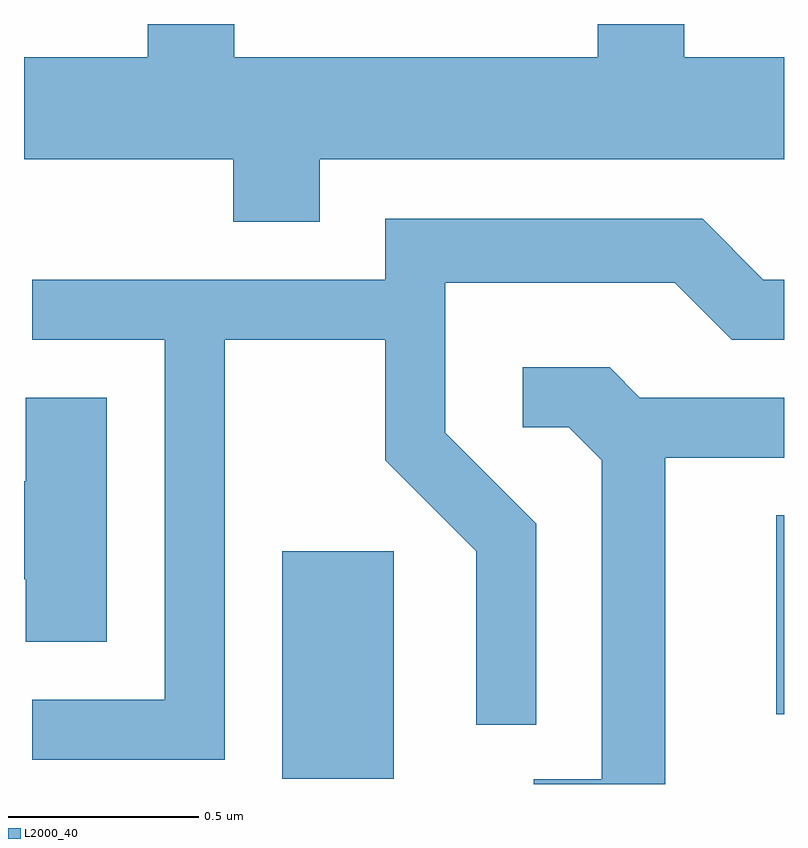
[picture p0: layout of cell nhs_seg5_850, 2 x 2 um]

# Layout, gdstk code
import gdstk
lib = gdstk.Library(unit=1e-6, precision=1e-09)
def R(c, l, rs):  # rectangles x0, y0, x1, y1
    for r in rs: c.add(gdstk.rectangle(r[:2], r[2:], *l))
def P(c, l, *ps):  # polygons
    for p in ps: c.add(gdstk.Polygon(p, *l))
L2000_40 = (2000, 40)

nhs_seg5_850 = lib.new_cell('nhs_seg5_850')
R(nhs_seg5_850, L2000_40, [(192.291,1424.086,192.584,1424.684), (193.591,1424.256,193.611,1424.779)])
P(nhs_seg5_850, L2000_40, [(192.389,1425.716),(193.611,1425.716),(193.611,1425.984),(193.349,1425.984),(193.349,1426.072),(193.121,1426.072),(193.121,1425.984),(192.164,1425.984),(192.164,1426.072),(191.936,1426.072),(191.936,1425.984),(191.611,1425.984),(191.611,1425.716),(192.161,1425.716),(192.161,1425.551),(192.389,1425.551)],
  [(192.139,1425.241),(192.561,1425.241),(192.561,1424.924),(192.801,1424.684),(192.801,1424.228),(192.959,1424.228),(192.959,1424.757),(192.719,1424.997),(192.719,1425.391),(193.324,1425.391),(193.474,1425.241),(193.611,1425.241),(193.611,1425.399),(193.557,1425.399),(193.397,1425.559),(192.561,1425.559),(192.561,1425.399),(191.633,1425.399),(191.633,1425.241),(191.981,1425.241),(191.981,1424.294),(191.633,1424.294),(191.633,1424.136),(192.139,1424.136)],
  [(193.299,1424.931),(193.611,1424.931),(193.611,1425.089),(193.232,1425.089),(193.152,1425.169),(192.923,1425.169),(192.923,1425.011),(193.044,1425.011),(193.131,1424.924),(193.131,1424.084),(192.953,1424.084),(192.953,1424.072),(193.299,1424.072)],
  [(191.829,1425.089),(191.616,1425.089),(191.616,1424.869),(191.611,1424.869),(191.611,1424.611),(191.616,1424.611),(191.616,1424.446),(191.829,1424.446)])

lib.write_gds('nhs_seg5_850.gds')
